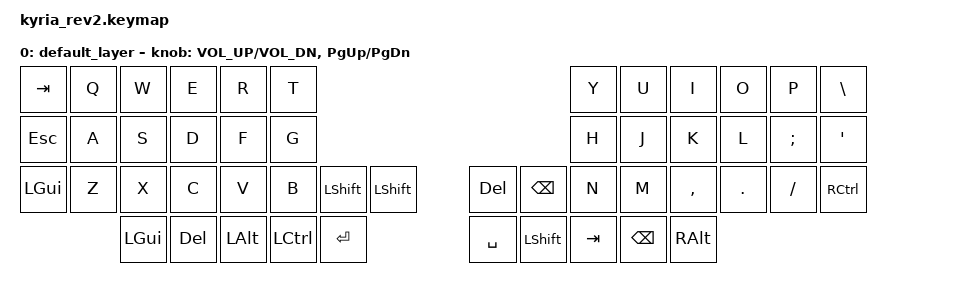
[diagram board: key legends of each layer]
/*
 * Copyright (c) 2020 The ZMK Contributors
 *
 * SPDX-License-Identifier: MIT
 */

#include <behaviors.dtsi>
#include <dt-bindings/zmk/keys.h>

/ {
	keymap {
		compatible = "zmk,keymap";

		default_layer {
			bindings = <
	&kp TAB   &kp Q &kp W &kp E &kp R &kp T                                                &kp Y &kp U  &kp I     &kp O   &kp P    &kp BSLH
	&kp ESC   &kp A &kp S &kp D &kp F &kp G                                                &kp H &kp J  &kp K     &kp L   &kp SEMI &kp SQT
	&kp LGUI  &kp Z &kp X &kp C &kp V &kp B  &kp LSHFT &kp LSHFT        &kp DEL   &kp BSPC &kp N &kp M  &kp COMMA &kp DOT &kp FSLH &kp RCTRL
	                 &kp LGUI &kp DEL &kp LALT &kp LCTRL &kp RET        &kp SPACE &kp LSHFT &kp TAB &kp BSPC &kp RALT
			>;

			sensor-bindings = <&inc_dec_kp C_VOL_UP C_VOL_DN &inc_dec_kp PG_UP PG_DN>;
		};
	};
};
